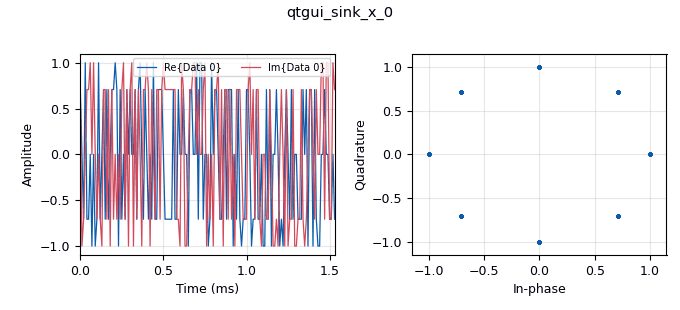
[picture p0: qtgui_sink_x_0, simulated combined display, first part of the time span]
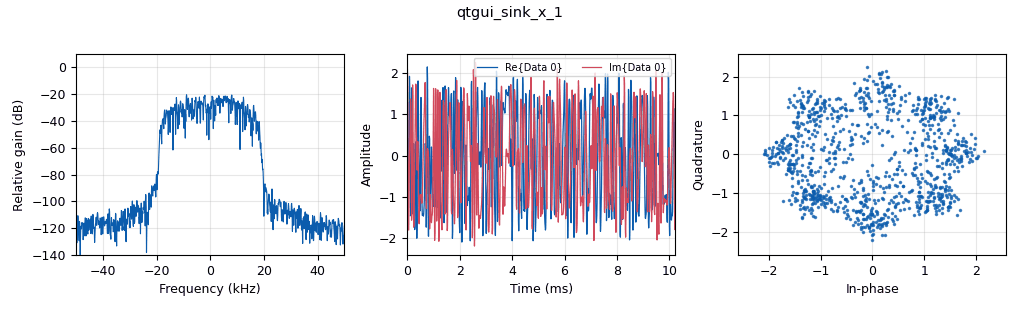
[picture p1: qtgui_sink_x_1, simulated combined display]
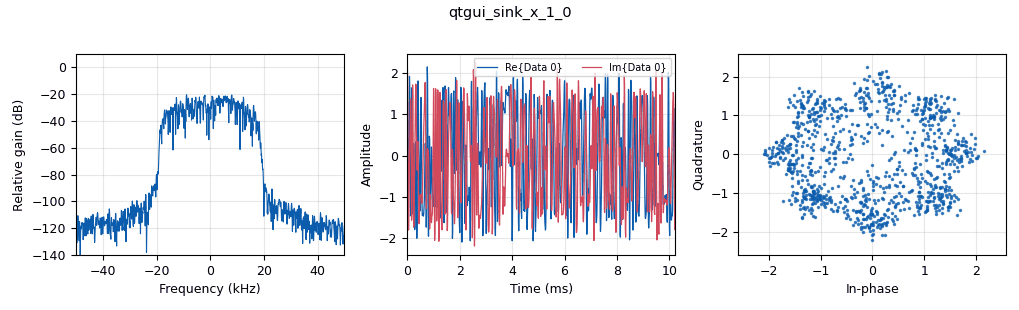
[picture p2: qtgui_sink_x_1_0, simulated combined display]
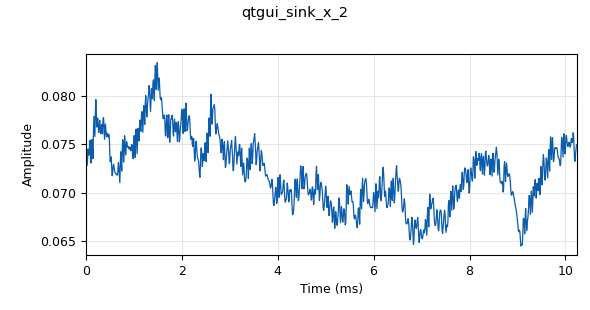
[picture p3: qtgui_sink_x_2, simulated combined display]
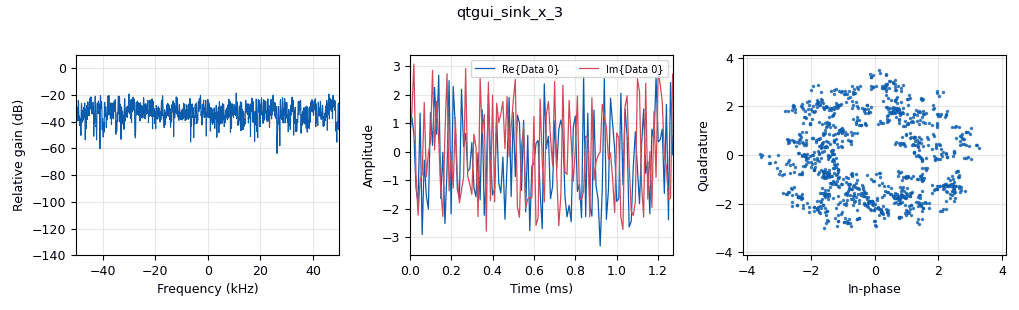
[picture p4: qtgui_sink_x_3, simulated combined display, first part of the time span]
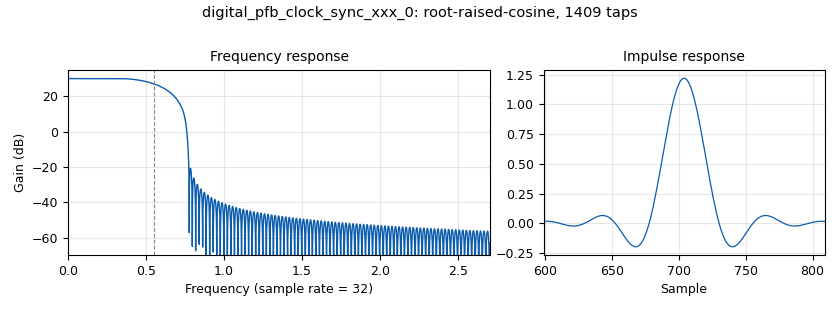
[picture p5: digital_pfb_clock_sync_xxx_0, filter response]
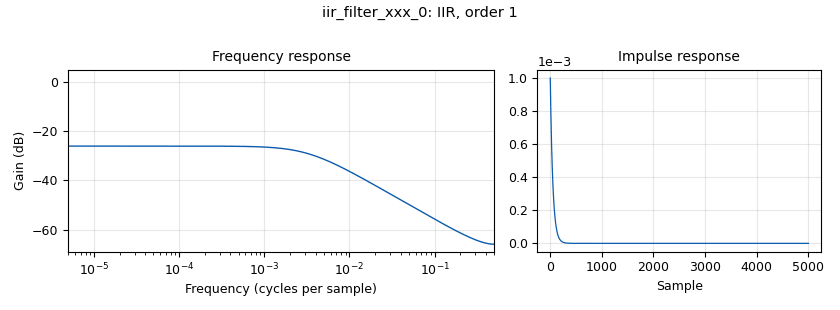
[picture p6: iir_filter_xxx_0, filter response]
<?xml version='1.0' encoding='utf-8'?>
<?grc format='1' created='3.7.13'?>
<flow_graph>
<block>
<key>options</key>
<param><key>id</key><value>top_block</value></param>
<param><key>generate_options</key><value>qt_gui</value></param>
</block>
<block>
<key>variable</key>
<param><key>id</key><value>const_points</value></param>
<param><key>value</key><value>4</value></param>
</block>
<block>
<key>variable</key>
<param><key>id</key><value>excess_bw</value></param>
<param><key>value</key><value>0.4</value></param>
</block>
<block>
<key>variable</key>
<param><key>id</key><value>fll_ntaps</value></param>
<param><key>value</key><value>55</value></param>
</block>
<block>
<key>variable</key>
<param><key>id</key><value>freq_bw</value></param>
<param><key>value</key><value>2*pi/100</value></param>
</block>
<block>
<key>variable</key>
<param><key>id</key><value>nfilts</value></param>
<param><key>value</key><value>32</value></param>
</block>
<block>
<key>variable</key>
<param><key>id</key><value>ntaps</value></param>
<param><key>value</key><value>11*nfilts*sps</value></param>
</block>
<block>
<key>variable</key>
<param><key>id</key><value>samp_rate</value></param>
<param><key>value</key><value>25000*sps</value></param>
</block>
<block>
<key>variable</key>
<param><key>id</key><value>sps</value></param>
<param><key>value</key><value>4</value></param>
</block>
<block>
<key>variable</key>
<param><key>id</key><value>timing_bw</value></param>
<param><key>value</key><value>2*pi/100</value></param>
</block>
<block>
<key>variable</key>
<param><key>id</key><value>tx_taps</value></param>
<param><key>value</key><value>firdes.root_raised_cosine(nfilts, nfilts, 1.1, excess_bw, ntaps)</value></param>
</block>
<block>
<key>variable_qtgui_range</key>
<param><key>id</key><value>variable_qtgui_range_0</value></param>
<param><key>value</key><value>0</value></param>
<param><key>gui_hint</key><value>tabs@2</value></param>
<param><key>orient</key><value>Qt.Horizontal</value></param>
<param><key>start</key><value>-10</value></param>
<param><key>step</key><value>0.01</value></param>
<param><key>stop</key><value>10</value></param>
</block>
<block>
<key>variable_qtgui_range</key>
<param><key>id</key><value>variable_qtgui_range_1</value></param>
<param><key>value</key><value>0</value></param>
<param><key>gui_hint</key><value>tabs@2</value></param>
<param><key>orient</key><value>Qt.Horizontal</value></param>
<param><key>start</key><value>-10</value></param>
<param><key>step</key><value>0.01</value></param>
<param><key>stop</key><value>10</value></param>
</block>
<block>
<key>variable_qtgui_range</key>
<param><key>id</key><value>variable_qtgui_range_2</value></param>
<param><key>value</key><value>0</value></param>
<param><key>gui_hint</key><value>tabs@2</value></param>
<param><key>orient</key><value>Qt.Horizontal</value></param>
<param><key>start</key><value>-10</value></param>
<param><key>step</key><value>0.01</value></param>
<param><key>stop</key><value>10</value></param>
</block>
<block>
<key>variable_qtgui_range</key>
<param><key>id</key><value>variable_qtgui_range_3</value></param>
<param><key>value</key><value>0</value></param>
<param><key>gui_hint</key><value>tabs@2</value></param>
<param><key>orient</key><value>Qt.Horizontal</value></param>
<param><key>start</key><value>-10</value></param>
<param><key>step</key><value>0.01</value></param>
<param><key>stop</key><value>10</value></param>
</block>
<block>
<key>variable_qtgui_range</key>
<param><key>id</key><value>variable_qtgui_range_4</value></param>
<param><key>value</key><value>0</value></param>
<param><key>gui_hint</key><value>tabs@3</value></param>
<param><key>orient</key><value>Qt.Horizontal</value></param>
<param><key>start</key><value>-10</value></param>
<param><key>step</key><value>0.01</value></param>
<param><key>stop</key><value>10</value></param>
</block>
<block>
<key>analog_noise_source_x</key>
<param><key>id</key><value>analog_noise_source_x_0</value></param>
<param><key>amp</key><value>0.05</value></param>
<param><key>noise_type</key><value>analog.GR_GAUSSIAN</value></param>
<param><key>type</key><value>complex</value></param>
<param><key>seed</key><value>0</value></param>
</block>
<block>
<key>analog_random_source_x</key>
<param><key>id</key><value>analog_random_source_x_0</value></param>
<param><key>max</key><value>8</value></param>
<param><key>min</key><value>0</value></param>
<param><key>num_samps</key><value>1000</value></param>
<param><key>type</key><value>byte</value></param>
<param><key>repeat</key><value>True</value></param>
</block>
<block>
<key>blocks_abs_xx</key>
<param><key>id</key><value>blocks_abs_xx_0</value></param>
<param><key>type</key><value>float</value></param>
</block>
<block>
<key>blocks_add_const_vxx</key>
<param><key>id</key><value>blocks_add_const_vxx_0</value></param>
<param><key>const</key><value>-1</value></param>
<param><key>type</key><value>float</value></param>
</block>
<block>
<key>blocks_add_xx</key>
<param><key>id</key><value>blocks_add_xx_0</value></param>
<param><key>type</key><value>complex</value></param>
</block>
<block>
<key>blocks_add_xx</key>
<param><key>id</key><value>blocks_add_xx_1</value></param>
<param><key>type</key><value>complex</value></param>
</block>
<block>
<key>blocks_add_xx</key>
<param><key>id</key><value>blocks_add_xx_2</value></param>
<param><key>type</key><value>complex</value></param>
</block>
<block>
<key>blocks_add_xx</key>
<param><key>id</key><value>blocks_add_xx_3</value></param>
<param><key>type</key><value>complex</value></param>
</block>
<block>
<key>blocks_add_xx</key>
<param><key>id</key><value>blocks_add_xx_4</value></param>
<param><key>type</key><value>complex</value></param>
</block>
<block>
<key>blocks_add_xx</key>
<param><key>id</key><value>blocks_add_xx_6</value></param>
<param><key>type</key><value>complex</value></param>
</block>
<block>
<key>blocks_complex_to_mag_squared</key>
<param><key>id</key><value>blocks_complex_to_mag_squared_0</value></param>
</block>
<block>
<key>blocks_delay</key>
<param><key>id</key><value>blocks_delay_0</value></param>
<param><key>delay</key><value>1</value></param>
<param><key>type</key><value>complex</value></param>
</block>
<block>
<key>blocks_delay</key>
<param><key>id</key><value>blocks_delay_0_0</value></param>
<param><key>delay</key><value>1</value></param>
<param><key>type</key><value>complex</value></param>
</block>
<block>
<key>blocks_delay</key>
<param><key>id</key><value>blocks_delay_0_0_0</value></param>
<param><key>delay</key><value>1</value></param>
<param><key>type</key><value>complex</value></param>
</block>
<block>
<key>blocks_delay</key>
<param><key>id</key><value>blocks_delay_0_0_1</value></param>
<param><key>delay</key><value>1</value></param>
<param><key>type</key><value>complex</value></param>
</block>
<block>
<key>blocks_delay</key>
<param><key>id</key><value>blocks_delay_0_0_1_0</value></param>
<param><key>delay</key><value>1</value></param>
<param><key>type</key><value>complex</value></param>
</block>
<block>
<key>blocks_multiply_const_vxx</key>
<param><key>id</key><value>blocks_multiply_const_vxx_0</value></param>
<param><key>const</key><value>0.5</value></param>
<param><key>type</key><value>complex</value></param>
</block>
<block>
<key>blocks_multiply_const_vxx</key>
<param><key>id</key><value>blocks_multiply_const_vxx_0_0</value></param>
<param><key>const</key><value>variable_qtgui_range_0</value></param>
<param><key>type</key><value>complex</value></param>
</block>
<block>
<key>blocks_multiply_const_vxx</key>
<param><key>id</key><value>blocks_multiply_const_vxx_0_0_0</value></param>
<param><key>const</key><value>variable_qtgui_range_1</value></param>
<param><key>type</key><value>complex</value></param>
</block>
<block>
<key>blocks_multiply_const_vxx</key>
<param><key>id</key><value>blocks_multiply_const_vxx_0_0_0_0</value></param>
<param><key>const</key><value>variable_qtgui_range_2</value></param>
<param><key>type</key><value>complex</value></param>
</block>
<block>
<key>blocks_multiply_const_vxx</key>
<param><key>id</key><value>blocks_multiply_const_vxx_0_0_0_0_0</value></param>
<param><key>const</key><value>variable_qtgui_range_3</value></param>
<param><key>type</key><value>complex</value></param>
</block>
<block>
<key>blocks_throttle</key>
<param><key>id</key><value>blocks_throttle_0</value></param>
<param><key>samples_per_second</key><value>samp_rate</value></param>
<param><key>type</key><value>float</value></param>
</block>
<block>
<key>digital_chunks_to_symbols_xx</key>
<param><key>id</key><value>digital_chunks_to_symbols_xx_0</value></param>
<param><key>dimension</key><value>1</value></param>
<param><key>in_type</key><value>byte</value></param>
<param><key>out_type</key><value>complex</value></param>
<param><key>symbol_table</key><value>((1),(0.7071 + 0.7071j),(1j),(-0.7071+0.7071j),(-1),(-0.7071-0.7071j),(-1j),(0.7071-0.7071j))</value></param>
</block>
<block>
<key>digital_cma_equalizer_cc</key>
<param><key>id</key><value>digital_cma_equalizer_cc_0</value></param>
<param><key>mu</key><value>variable_qtgui_range_4</value></param>
<param><key>modulus</key><value>1</value></param>
<param><key>num_taps</key><value>10</value></param>
<param><key>sps</key><value>sps</value></param>
</block>
<block>
<key>digital_pfb_clock_sync_xxx</key>
<param><key>id</key><value>digital_pfb_clock_sync_xxx_0</value></param>
<param><key>filter_size</key><value>32</value></param>
<param><key>init_phase</key><value>16</value></param>
<param><key>loop_bw</key><value>0.062</value></param>
<param><key>max_dev</key><value>1.5</value></param>
<param><key>osps</key><value>1</value></param>
<param><key>sps</key><value>sps</value></param>
<param><key>taps</key><value>tx_taps</value></param>
<param><key>type</key><value>ccf</value></param>
</block>
<block>
<key>iir_filter_xxx</key>
<param><key>id</key><value>iir_filter_xxx_0</value></param>
<param><key>fftaps</key><value>[0.001]</value></param>
<param><key>fbtaps</key><value>[1, 0.98]</value></param>
<param><key>type</key><value>ffd</value></param>
</block>
<block>
<key>import</key>
<param><key>id</key><value>import_0</value></param>
<param><key>import</key><value>from math import pi</value></param>
</block>
<block>
<key>import</key>
<param><key>id</key><value>import_0_0</value></param>
<param><key>import</key><value>from gnuradio import digital</value></param>
</block>
<block>
<key>import</key>
<param><key>id</key><value>import_0_0_0</value></param>
<param><key>import</key><value>from gnuradio import filter</value></param>
</block>
<block>
<key>pfb_arb_resampler_xxx</key>
<param><key>id</key><value>pfb_arb_resampler_xxx_0</value></param>
<param><key>nfilts</key><value>32</value></param>
<param><key>rrate</key><value>sps</value></param>
<param><key>atten</key><value>100</value></param>
<param><key>taps</key><value>tx_taps</value></param>
<param><key>type</key><value>ccf</value></param>
</block>
<block>
<key>qtgui_sink_x</key>
<param><key>id</key><value>qtgui_sink_x_0</value></param>
<param><key>bw</key><value>samp_rate</value></param>
<param><key>fc</key><value>0</value></param>
<param><key>freqchangevar</key><value>None</value></param>
<param><key>fftsize</key><value>1024</value></param>
<param><key>gui_hint</key><value>tabs@0</value></param>
<param><key>plotfreq</key><value>False</value></param>
<param><key>showports</key><value>True</value></param>
<param><key>type</key><value>complex</value></param>
<param><key>wintype</key><value>firdes.WIN_KAISER</value></param>
</block>
<block>
<key>qtgui_sink_x</key>
<param><key>id</key><value>qtgui_sink_x_1</value></param>
<param><key>bw</key><value>samp_rate</value></param>
<param><key>fc</key><value>0</value></param>
<param><key>freqchangevar</key><value>None</value></param>
<param><key>fftsize</key><value>1024</value></param>
<param><key>gui_hint</key><value>tabs@1</value></param>
<param><key>plotwaterfall</key><value>False</value></param>
<param><key>showports</key><value>True</value></param>
<param><key>type</key><value>complex</value></param>
<param><key>wintype</key><value>firdes.WIN_BLACKMAN_hARRIS</value></param>
</block>
<block>
<key>qtgui_sink_x</key>
<param><key>id</key><value>qtgui_sink_x_1_0</value></param>
<param><key>bw</key><value>samp_rate</value></param>
<param><key>fc</key><value>0</value></param>
<param><key>freqchangevar</key><value>None</value></param>
<param><key>fftsize</key><value>1024</value></param>
<param><key>gui_hint</key><value>tabs@2</value></param>
<param><key>plotwaterfall</key><value>False</value></param>
<param><key>showports</key><value>True</value></param>
<param><key>type</key><value>complex</value></param>
<param><key>wintype</key><value>firdes.WIN_BLACKMAN_hARRIS</value></param>
</block>
<block>
<key>qtgui_sink_x</key>
<param><key>id</key><value>qtgui_sink_x_2</value></param>
<param><key>bw</key><value>samp_rate</value></param>
<param><key>fc</key><value>0</value></param>
<param><key>freqchangevar</key><value>None</value></param>
<param><key>fftsize</key><value>1024</value></param>
<param><key>gui_hint</key><value>tabs@2</value></param>
<param><key>plotconst</key><value>False</value></param>
<param><key>plotfreq</key><value>False</value></param>
<param><key>showports</key><value>True</value></param>
<param><key>type</key><value>float</value></param>
<param><key>wintype</key><value>firdes.WIN_BLACKMAN_hARRIS</value></param>
</block>
<block>
<key>qtgui_sink_x</key>
<param><key>id</key><value>qtgui_sink_x_3</value></param>
<param><key>bw</key><value>samp_rate</value></param>
<param><key>fc</key><value>0</value></param>
<param><key>freqchangevar</key><value>None</value></param>
<param><key>fftsize</key><value>1024</value></param>
<param><key>gui_hint</key><value>tabs@3</value></param>
<param><key>showports</key><value>True</value></param>
<param><key>type</key><value>complex</value></param>
<param><key>wintype</key><value>firdes.WIN_BLACKMAN_hARRIS</value></param>
</block>
<block>
<key>qtgui_tab_widget</key>
<param><key>id</key><value>tabs</value></param>
<param><key>label0</key><value>0</value></param>
<param><key>label1</key><value>1</value></param>
<param><key>label2</key><value>2</value></param>
<param><key>label3</key><value>3</value></param>
<param><key>num_tabs</key><value>4</value></param>
</block>
<connection><source_block_id>analog_noise_source_x_0</source_block_id><sink_block_id>blocks_add_xx_1</sink_block_id><source_key>0</source_key><sink_key>1</sink_key></connection>
<connection><source_block_id>analog_random_source_x_0</source_block_id><sink_block_id>digital_chunks_to_symbols_xx_0</sink_block_id><source_key>0</source_key><sink_key>0</sink_key></connection>
<connection><source_block_id>blocks_abs_xx_0</source_block_id><sink_block_id>iir_filter_xxx_0</sink_block_id><source_key>0</source_key><sink_key>0</sink_key></connection>
<connection><source_block_id>blocks_add_const_vxx_0</source_block_id><sink_block_id>blocks_abs_xx_0</sink_block_id><source_key>0</source_key><sink_key>0</sink_key></connection>
<connection><source_block_id>blocks_add_xx_0</source_block_id><sink_block_id>blocks_add_xx_2</sink_block_id><source_key>0</source_key><sink_key>1</sink_key></connection>
<connection><source_block_id>blocks_add_xx_0</source_block_id><sink_block_id>blocks_delay_0_0</sink_block_id><source_key>0</source_key><sink_key>0</sink_key></connection>
<connection><source_block_id>blocks_add_xx_0</source_block_id><sink_block_id>digital_cma_equalizer_cc_0</sink_block_id><source_key>0</source_key><sink_key>0</sink_key></connection>
<connection><source_block_id>blocks_add_xx_0</source_block_id><sink_block_id>qtgui_sink_x_1</sink_block_id><source_key>0</source_key><sink_key>0</sink_key></connection>
<connection><source_block_id>blocks_add_xx_1</source_block_id><sink_block_id>pfb_arb_resampler_xxx_0</sink_block_id><source_key>0</source_key><sink_key>0</sink_key></connection>
<connection><source_block_id>blocks_add_xx_2</source_block_id><sink_block_id>blocks_add_xx_3</sink_block_id><source_key>0</source_key><sink_key>1</sink_key></connection>
<connection><source_block_id>blocks_add_xx_3</source_block_id><sink_block_id>blocks_add_xx_4</sink_block_id><source_key>0</source_key><sink_key>1</sink_key></connection>
<connection><source_block_id>blocks_add_xx_4</source_block_id><sink_block_id>blocks_add_xx_6</sink_block_id><source_key>0</source_key><sink_key>1</sink_key></connection>
<connection><source_block_id>blocks_add_xx_6</source_block_id><sink_block_id>blocks_complex_to_mag_squared_0</sink_block_id><source_key>0</source_key><sink_key>0</sink_key></connection>
<connection><source_block_id>blocks_add_xx_6</source_block_id><sink_block_id>qtgui_sink_x_1_0</sink_block_id><source_key>0</source_key><sink_key>0</sink_key></connection>
<connection><source_block_id>blocks_complex_to_mag_squared_0</source_block_id><sink_block_id>blocks_add_const_vxx_0</sink_block_id><source_key>0</source_key><sink_key>0</sink_key></connection>
<connection><source_block_id>blocks_delay_0</source_block_id><sink_block_id>blocks_multiply_const_vxx_0</sink_block_id><source_key>0</source_key><sink_key>0</sink_key></connection>
<connection><source_block_id>blocks_delay_0_0</source_block_id><sink_block_id>blocks_delay_0_0_0</sink_block_id><source_key>0</source_key><sink_key>0</sink_key></connection>
<connection><source_block_id>blocks_delay_0_0</source_block_id><sink_block_id>blocks_multiply_const_vxx_0_0</sink_block_id><source_key>0</source_key><sink_key>0</sink_key></connection>
<connection><source_block_id>blocks_delay_0_0_0</source_block_id><sink_block_id>blocks_delay_0_0_1</sink_block_id><source_key>0</source_key><sink_key>0</sink_key></connection>
<connection><source_block_id>blocks_delay_0_0_0</source_block_id><sink_block_id>blocks_multiply_const_vxx_0_0_0</sink_block_id><source_key>0</source_key><sink_key>0</sink_key></connection>
<connection><source_block_id>blocks_delay_0_0_1</source_block_id><sink_block_id>blocks_delay_0_0_1_0</sink_block_id><source_key>0</source_key><sink_key>0</sink_key></connection>
<connection><source_block_id>blocks_delay_0_0_1</source_block_id><sink_block_id>blocks_multiply_const_vxx_0_0_0_0</sink_block_id><source_key>0</source_key><sink_key>0</sink_key></connection>
<connection><source_block_id>blocks_delay_0_0_1_0</source_block_id><sink_block_id>blocks_multiply_const_vxx_0_0_0_0_0</sink_block_id><source_key>0</source_key><sink_key>0</sink_key></connection>
<connection><source_block_id>blocks_multiply_const_vxx_0</source_block_id><sink_block_id>blocks_add_xx_0</sink_block_id><source_key>0</source_key><sink_key>1</sink_key></connection>
<connection><source_block_id>blocks_multiply_const_vxx_0_0</source_block_id><sink_block_id>blocks_add_xx_2</sink_block_id><source_key>0</source_key><sink_key>0</sink_key></connection>
<connection><source_block_id>blocks_multiply_const_vxx_0_0_0</source_block_id><sink_block_id>blocks_add_xx_3</sink_block_id><source_key>0</source_key><sink_key>0</sink_key></connection>
<connection><source_block_id>blocks_multiply_const_vxx_0_0_0_0</source_block_id><sink_block_id>blocks_add_xx_4</sink_block_id><source_key>0</source_key><sink_key>0</sink_key></connection>
<connection><source_block_id>blocks_multiply_const_vxx_0_0_0_0_0</source_block_id><sink_block_id>blocks_add_xx_6</sink_block_id><source_key>0</source_key><sink_key>0</sink_key></connection>
<connection><source_block_id>blocks_throttle_0</source_block_id><sink_block_id>qtgui_sink_x_2</sink_block_id><source_key>0</source_key><sink_key>0</sink_key></connection>
<connection><source_block_id>digital_chunks_to_symbols_xx_0</source_block_id><sink_block_id>blocks_add_xx_1</sink_block_id><source_key>0</source_key><sink_key>0</sink_key></connection>
<connection><source_block_id>digital_chunks_to_symbols_xx_0</source_block_id><sink_block_id>qtgui_sink_x_0</sink_block_id><source_key>0</source_key><sink_key>0</sink_key></connection>
<connection><source_block_id>digital_cma_equalizer_cc_0</source_block_id><sink_block_id>digital_pfb_clock_sync_xxx_0</sink_block_id><source_key>0</source_key><sink_key>0</sink_key></connection>
<connection><source_block_id>digital_pfb_clock_sync_xxx_0</source_block_id><sink_block_id>qtgui_sink_x_3</sink_block_id><source_key>0</source_key><sink_key>0</sink_key></connection>
<connection><source_block_id>iir_filter_xxx_0</source_block_id><sink_block_id>blocks_throttle_0</sink_block_id><source_key>0</source_key><sink_key>0</sink_key></connection>
<connection><source_block_id>pfb_arb_resampler_xxx_0</source_block_id><sink_block_id>blocks_add_xx_0</sink_block_id><source_key>0</source_key><sink_key>0</sink_key></connection>
<connection><source_block_id>pfb_arb_resampler_xxx_0</source_block_id><sink_block_id>blocks_delay_0</sink_block_id><source_key>0</source_key><sink_key>0</sink_key></connection>
</flow_graph>
